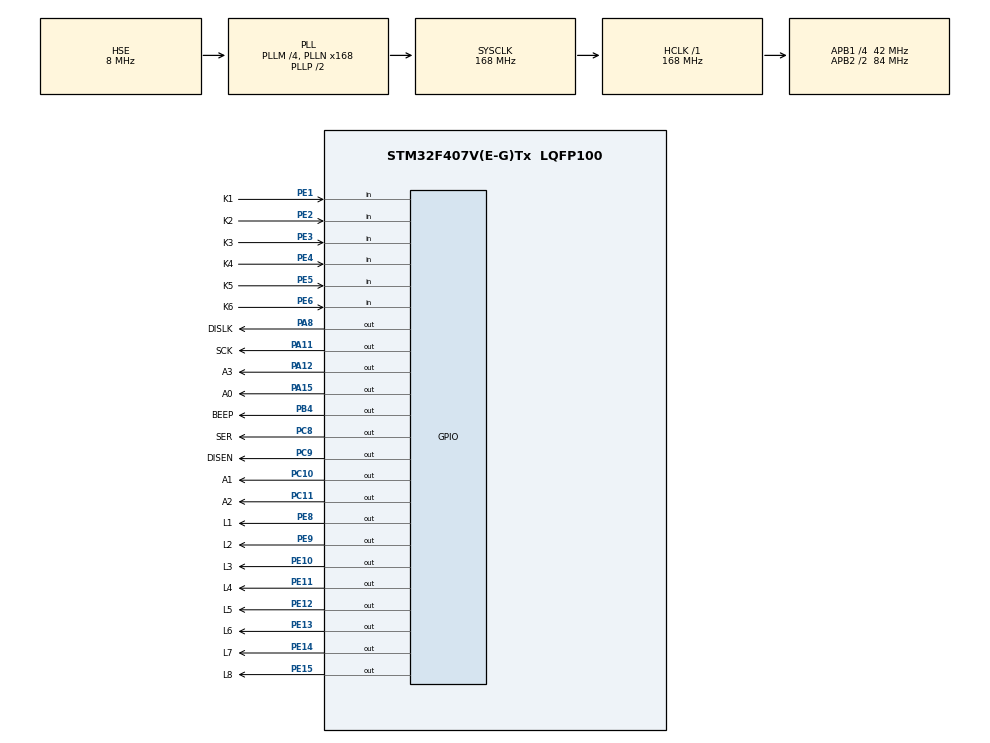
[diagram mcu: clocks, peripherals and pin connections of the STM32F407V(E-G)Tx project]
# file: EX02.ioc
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FREERTOS.Tasks01=TaskLED,24,256,StartTaskLED,Default,NULL,Dynamic,NULL,NULL;TaskBEEP,8,256,StartTaskBEEP,Default,NULL,Dynamic,NULL,NULL;TaskKEY,8,256,StartTaskKEY,Default,NULL,Dynamic,NULL,NULL;TaskSEG,8,128,StartTaskSEG,Default,NULL,Dynamic,NULL,NULL
Mcu.Family=STM32F4
Mcu.Name=STM32F407V(E-G)Tx
Mcu.Package=LQFP100
NVIC.PriorityGroup=NVIC_PRIORITYGROUP_4
NVIC.TIM1_BRK_TIM9_IRQn=true\:0\:0\:false\:false\:true\:false\:false\:true
NVIC.TimeBase=TIM1_BRK_TIM9_IRQn
NVIC.TimeBaseIP=TIM9
PA11.GPIO_Label=SCK
PA11.Signal=GPIO_Output
PA12.GPIO_Label=A3
PA12.Signal=GPIO_Output
PA13.Mode=Serial_Wire
PA13.Signal=SYS_JTMS-SWDIO
PA14.Mode=Serial_Wire
PA14.Signal=SYS_JTCK-SWCLK
PA15.GPIO_Label=A0
PA15.Signal=GPIO_Output
PA8.GPIO_Label=DISLK
PA8.Signal=GPIO_Output
PB4.GPIO_Label=BEEP
PB4.Signal=GPIO_Output
PC10.GPIO_Label=A1
PC10.Signal=GPIO_Output
PC11.GPIO_Label=A2
PC11.Signal=GPIO_Output
PC8.GPIO_Label=SER
PC8.Signal=GPIO_Output
PC9.GPIO_Label=DISEN
PC9.Signal=GPIO_Output
PE1.GPIO_Label=K1
PE1.GPIO_PuPd=GPIO_PULLUP
PE1.Signal=GPIO_Input
PE10.GPIO_Label=L3
PE10.GPIO_ModeDefaultOutputPP=GPIO_MODE_OUTPUT_PP
PE10.GPIO_PuPd=GPIO_NOPULL
PE10.GPIO_Speed=GPIO_SPEED_FREQ_LOW
PE10.PinState=GPIO_PIN_SET
PE10.Signal=GPIO_Output
PE11.GPIO_Label=L4
PE11.GPIO_ModeDefaultOutputPP=GPIO_MODE_OUTPUT_PP
PE11.GPIO_PuPd=GPIO_NOPULL
PE11.GPIO_Speed=GPIO_SPEED_FREQ_LOW
PE11.PinState=GPIO_PIN_SET
PE11.Signal=GPIO_Output
PE12.GPIO_Label=L5
PE12.GPIO_ModeDefaultOutputPP=GPIO_MODE_OUTPUT_PP
PE12.GPIO_PuPd=GPIO_NOPULL
PE12.GPIO_Speed=GPIO_SPEED_FREQ_LOW
PE12.PinState=GPIO_PIN_SET
PE12.Signal=GPIO_Output
PE13.GPIO_Label=L6
PE13.GPIO_ModeDefaultOutputPP=GPIO_MODE_OUTPUT_PP
PE13.GPIO_PuPd=GPIO_NOPULL
PE13.GPIO_Speed=GPIO_SPEED_FREQ_LOW
PE13.PinState=GPIO_PIN_SET
PE13.Signal=GPIO_Output
PE14.GPIO_Label=L7
PE14.GPIO_ModeDefaultOutputPP=GPIO_MODE_OUTPUT_PP
PE14.GPIO_PuPd=GPIO_NOPULL
PE14.GPIO_Speed=GPIO_SPEED_FREQ_LOW
PE14.PinState=GPIO_PIN_SET
PE14.Signal=GPIO_Output
PE15.GPIO_Label=L8
PE15.GPIO_ModeDefaultOutputPP=GPIO_MODE_OUTPUT_PP
PE15.GPIO_PuPd=GPIO_NOPULL
PE15.GPIO_Speed=GPIO_SPEED_FREQ_LOW
PE15.PinState=GPIO_PIN_SET
PE15.Signal=GPIO_Output
PE2.GPIO_Label=K2
PE2.GPIO_PuPd=GPIO_PULLUP
PE2.Signal=GPIO_Input
PE3.GPIO_Label=K3
PE3.GPIO_PuPd=GPIO_PULLUP
PE3.Signal=GPIO_Input
PE4.GPIO_Label=K4
PE4.GPIO_PuPd=GPIO_PULLUP
PE4.Signal=GPIO_Input
PE5.GPIO_Label=K5
PE5.GPIO_PuPd=GPIO_PULLDOWN
PE5.Signal=GPIO_Input
PE6.GPIO_Label=K6
PE6.GPIO_PuPd=GPIO_PULLDOWN
PE6.Signal=GPIO_Input
PE8.GPIO_Label=L1
PE8.GPIO_ModeDefaultOutputPP=GPIO_MODE_OUTPUT_PP
PE8.GPIO_PuPd=GPIO_NOPULL
PE8.GPIO_Speed=GPIO_SPEED_FREQ_LOW
PE8.PinState=GPIO_PIN_SET
PE8.Signal=GPIO_Output
PE9.GPIO_Label=L2
PE9.GPIO_ModeDefaultOutputPP=GPIO_MODE_OUTPUT_PP
PE9.GPIO_PuPd=GPIO_NOPULL
PE9.GPIO_Speed=GPIO_SPEED_FREQ_LOW
PE9.PinState=GPIO_PIN_SET
PE9.Signal=GPIO_Output
PH0-OSC_IN.Mode=HSE-External-Oscillator
PH0-OSC_IN.Signal=RCC_OSC_IN
PH1-OSC_OUT.Mode=HSE-External-Oscillator
PH1-OSC_OUT.Signal=RCC_OSC_OUT
ProjectManager.HeapSize=0x200
ProjectManager.StackSize=0x400
ProjectManager.TargetToolchain=MDK-ARM V5.27
RCC.48MHZClocksFreq_Value=84000000
RCC.AHBFreq_Value=168000000
RCC.APB1CLKDivider=RCC_HCLK_DIV4
RCC.APB1Freq_Value=42000000
RCC.APB1TimFreq_Value=84000000
RCC.APB2CLKDivider=RCC_HCLK_DIV2
RCC.APB2Freq_Value=84000000
RCC.APB2TimFreq_Value=168000000
RCC.CortexFreq_Value=168000000
RCC.HCLKFreq_Value=168000000
RCC.HSE_VALUE=8000000
RCC.HSI_VALUE=16000000
RCC.LSE_VALUE=32768
RCC.PLLM=4
RCC.PLLN=168
RCC.PLLSourceVirtual=RCC_PLLSOURCE_HSE
RCC.SYSCLKFreq_VALUE=168000000
RCC.SYSCLKSource=RCC_SYSCLKSOURCE_PLLCLK
RCC.VCOOutputFreq_Value=336000000
VP_FREERTOS_VS_CMSIS_V2.Mode=CMSIS_V2
VP_SYS_VS_tim9.Mode=TIM9
board=custom

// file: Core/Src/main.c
/* USER CODE BEGIN Header */
/**
  ******************************************************************************
  * @file           : main.c
  * @brief          : Main program body
  ******************************************************************************
  * @attention
  *
  * <h2><center>&copy; Copyright (c) 2021 STMicroelectronics.
  * All rights reserved.</center></h2>
  *
  * This software component is licensed by ST under Ultimate Liberty license
  * SLA0044, the "License"; You may not use this file except in compliance with
  * the License. You may obtain a copy of the License at:
  *                             www.st.com/SLA0044
  *
  ******************************************************************************
  */
/* USER CODE END Header */
#include "main.h"
#include "cmsis_os.h"
#include "gpio.h"

void SystemClock_Config(void);
void MX_FREERTOS_Init(void);

int main(void)
{

  /* MCU Configuration--------------------------------------------------------*/

  /* Reset of all peripherals, Initializes the Flash interface and the Systick. */
  HAL_Init();

  /* Configure the system clock */
  SystemClock_Config();

  /* Initialize all configured peripherals */
  MX_GPIO_Init();

  /* Init scheduler */
  osKernelInitialize();  /* Call init function for freertos objects (in freertos.c) */
  MX_FREERTOS_Init();
  /* Start scheduler */
  osKernelStart();

  /* We should never get here as control is now taken by the scheduler */
  /* Infinite loop */
  while (1)
  {

  }
}

void SystemClock_Config(void)
{
  RCC_OscInitTypeDef RCC_OscInitStruct = {0};
  RCC_ClkInitTypeDef RCC_ClkInitStruct = {0};

  /** Configure the main internal regulator output voltage
  */
  __HAL_RCC_PWR_CLK_ENABLE();
  __HAL_PWR_VOLTAGESCALING_CONFIG(PWR_REGULATOR_VOLTAGE_SCALE1);
  /** Initializes the RCC Oscillators according to the specified parameters
  * in the RCC_OscInitTypeDef structure.
  */
  RCC_OscInitStruct.OscillatorType = RCC_OSCILLATORTYPE_HSE;
  RCC_OscInitStruct.HSEState = RCC_HSE_ON;
  RCC_OscInitStruct.PLL.PLLState = RCC_PLL_ON;
  RCC_OscInitStruct.PLL.PLLSource = RCC_PLLSOURCE_HSE;
  RCC_OscInitStruct.PLL.PLLM = 4;
  RCC_OscInitStruct.PLL.PLLN = 168;
  RCC_OscInitStruct.PLL.PLLP = RCC_PLLP_DIV2;
  RCC_OscInitStruct.PLL.PLLQ = 4;
  if (HAL_RCC_OscConfig(&RCC_OscInitStruct) != HAL_OK)
  {
    Error_Handler();
  }
  /** Initializes the CPU, AHB and APB buses clocks
  */
  RCC_ClkInitStruct.ClockType = RCC_CLOCKTYPE_HCLK|RCC_CLOCKTYPE_SYSCLK
                              |RCC_CLOCKTYPE_PCLK1|RCC_CLOCKTYPE_PCLK2;
  RCC_ClkInitStruct.SYSCLKSource = RCC_SYSCLKSOURCE_PLLCLK;
  RCC_ClkInitStruct.AHBCLKDivider = RCC_SYSCLK_DIV1;
  RCC_ClkInitStruct.APB1CLKDivider = RCC_HCLK_DIV4;
  RCC_ClkInitStruct.APB2CLKDivider = RCC_HCLK_DIV2;

  if (HAL_RCC_ClockConfig(&RCC_ClkInitStruct, FLASH_LATENCY_5) != HAL_OK)
  {
    Error_Handler();
  }
}

void HAL_TIM_PeriodElapsedCallback(TIM_HandleTypeDef *htim)
{
  if (htim->Instance == TIM9) {
    HAL_IncTick();
  }
}

void Error_Handler(void)
{
  __disable_irq();
  while (1)
  {
  }
}

/************************ (C) COPYRIGHT STMicroelectronics *****END OF FILE****/

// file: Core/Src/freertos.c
/* USER CODE BEGIN Header */
/**
  ******************************************************************************
  * File Name          : freertos.c
  * Description        : Code for freertos applications
  ******************************************************************************
  * @attention
  *
  * <h2><center>&copy; Copyright (c) 2021 STMicroelectronics.
  * All rights reserved.</center></h2>
  *
  * This software component is licensed by ST under Ultimate Liberty license
  * SLA0044, the "License"; You may not use this file except in compliance with
  * the License. You may obtain a copy of the License at:
  *                             www.st.com/SLA0044
  *
  ******************************************************************************
  */
/* USER CODE END Header */

#include "FreeRTOS.h"
#include "task.h"
#include "main.h"
#include "cmsis_os.h"

/* USER CODE BEGIN Includes */
#include "led.h"
#include "seg.h"
/* USER CODE END Includes */

/* USER CODE BEGIN Variables */
uint8_t led_run=1; //运行
uint8_t led_sp=5;	 //速度等级

uint16_t beep_time;
uint8_t  beep_tune;

uint8_t seg[4] = {0};
/* USER CODE END Variables */
/* Definitions for TaskLED */
osThreadId_t TaskLEDHandle;
const osThreadAttr_t TaskLED_attributes = {
  .name = "TaskLED",
  .stack_size = 256 * 4,
  .priority = (osPriority_t) osPriorityNormal,
};
/* Definitions for TaskBEEP */
osThreadId_t TaskBEEPHandle;
const osThreadAttr_t TaskBEEP_attributes = {
  .name = "TaskBEEP",
  .stack_size = 256 * 4,
  .priority = (osPriority_t) osPriorityLow,
};
/* Definitions for TaskKEY */
osThreadId_t TaskKEYHandle;
const osThreadAttr_t TaskKEY_attributes = {
  .name = "TaskKEY",
  .stack_size = 256 * 4,
  .priority = (osPriority_t) osPriorityLow,
};
/* Definitions for TaskSEG */
osThreadId_t TaskSEGHandle;
const osThreadAttr_t TaskSEG_attributes = {
  .name = "TaskSEG",
  .stack_size = 128 * 4,
  .priority = (osPriority_t) osPriorityLow,
};

/* USER CODE BEGIN FunctionPrototypes */
void beep(uint16_t time,uint8_t tune);
/* USER CODE END FunctionPrototypes */

void StartTaskLED(void *argument);
void StartTaskBEEP(void *argument);
void StartTaskKEY(void *argument);
void StartTaskSEG(void *argument);

void MX_FREERTOS_Init(void); /* (MISRA C 2004 rule 8.1) */

void MX_FREERTOS_Init(void) {

  /* Create the thread(s) */
  /* creation of TaskLED */
  TaskLEDHandle = osThreadNew(StartTaskLED, NULL, &TaskLED_attributes);

  /* creation of TaskBEEP */
  TaskBEEPHandle = osThreadNew(StartTaskBEEP, NULL, &TaskBEEP_attributes);

  /* creation of TaskKEY */
  TaskKEYHandle = osThreadNew(StartTaskKEY, NULL, &TaskKEY_attributes);

  /* creation of TaskSEG */
  TaskSEGHandle = osThreadNew(StartTaskSEG, NULL, &TaskSEG_attributes);

}

void StartTaskLED(void *argument)
{
  /* USER CODE BEGIN StartTaskLED */
  /* Infinite loop */
	uint8_t led_sta=0x01;
	Set_leds(led_sta);

  for(;;)
  {
		if(led_run){
			if(led_sta<0x80){
				led_sta<<=1;
			}
			else{
				led_sta=0x01;
			}

			Set_leds(led_sta);
		}

    osDelay(50*(10-led_sp));
  }
  /* USER CODE END StartTaskLED */
}

void StartTaskBEEP(void *argument)
{
  /* USER CODE BEGIN StartTaskBEEP */
  /* Infinite loop */
  for(;;)
  {
		if(osKernelGetTickCount()<beep_time){
			HAL_GPIO_TogglePin(BEEP_GPIO_Port,BEEP_Pin);
			for(volatile uint8_t i = 0;i<beep_tune;++i)
				for(volatile uint16_t j = 0;j<10000;++j);
		}

    osDelay(1);
  }
  /* USER CODE END StartTaskBEEP */
}

void StartTaskKEY(void *argument)
{
  /* USER CODE BEGIN StartTaskKEY */
  /* Infinite loop */
	uint8_t key;

  for(;;)
  {

		key=ScanKey();

		switch (key)
		{
			case KEY1:
				seg[0]=1;
				beep(500,1);
				led_run=1;
				break;
			case KEY2:
				seg[0]=2;
				beep(500,2);
				led_run=0;
				break;
			case KEY3:
				seg[0]=3;
				beep(500,3);
				if(led_sp<9)
					++led_sp;
				break;
			case KEY4:
				seg[0]=4;
				beep(500,4);
				if(led_sp>1)
					--led_sp;
				break;
			case KEY5:
				seg[0]=5;
				beep(500,5);
				break;
			case KEY6:
				seg[0]=6;
				beep(500,6);
				break;
			default:
				break;
		}
    osDelay(50);
  }
  /* USER CODE END StartTaskKEY */
}

void StartTaskSEG(void *argument)
{
  /* USER CODE BEGIN StartTaskSEG */
  /* Infinite loop */
  for(;;)
  {
		int i;
		for(i=0;i<4;i++){
			Write595(i,seg[i],0);
			osDelay(5);

		}
    osDelay(1);
  }
  /* USER CODE END StartTaskSEG */
}

/* USER CODE BEGIN Application */

void beep(uint16_t time,uint8_t tune)
{
	beep_time = time+osKernelGetTickCount();
	beep_tune = tune;
}
/* USER CODE END Application */

/************************ (C) COPYRIGHT STMicroelectronics *****END OF FILE****/
